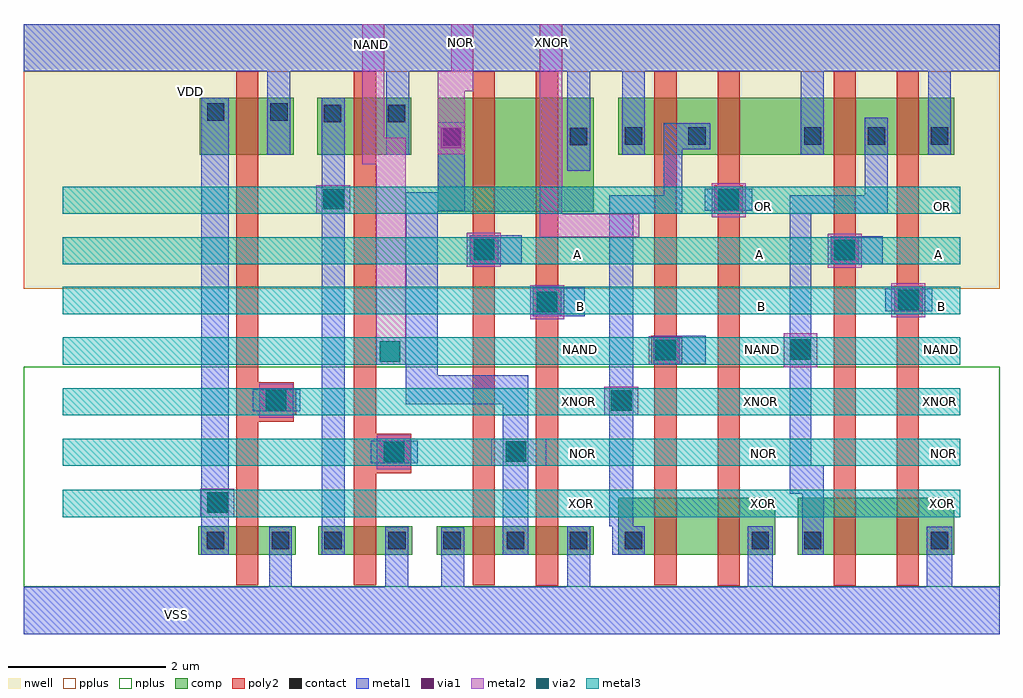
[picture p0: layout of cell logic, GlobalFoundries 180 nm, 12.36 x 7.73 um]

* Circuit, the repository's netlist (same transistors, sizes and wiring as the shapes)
** sch_path: /foss/designs/engn1600-team1/CAD4/logic.sch
.subckt logic NOR VDD VSS XNOR A B NAND XOR
*.PININFO VSS:B VDD:B A:I B:I NAND:O NOR:O XNOR:O XOR:O
x1 VDD NAND A B VSS nand2
x3 VDD NOR net1 VSS inv
x2 VDD NOR A B VSS nor2
x4 VDD XNOR NAND net1 VSS nand2
x6 VDD XNOR XOR VSS inv
.ends

* expanding   symbol:  engn1600-team1/CAD4/alu_nand2.sym # of pins=5
** sym_path: /foss/designs/engn1600-team1/CAD4/alu_nand2.sym
** sch_path: /foss/designs/engn1600-team1/CAD4/alu_nand2.sch
.subckt nand2 VDD OUT IN0 IN1 VSS
*.PININFO VSS:B VDD:B IN0:I IN1:I OUT:O
M1 net1 IN1 VSS VSS nfet_03v3 L=0.28u W=0.72u nf=1 m=1
M2 OUT IN0 net1 VSS nfet_03v3 L=0.28u W=0.72u nf=1 m=1
M3 OUT IN1 VDD VDD pfet_03v3 L=0.28u W=0.72u nf=1 m=1
M4 OUT IN0 VDD VDD pfet_03v3 L=0.28u W=0.72u nf=1 m=1
.ends


* expanding   symbol:  engn1600-team1/CAD4/alu_inv.sym # of pins=4
** sym_path: /foss/designs/engn1600-team1/CAD4/alu_inv.sym
** sch_path: /foss/designs/engn1600-team1/CAD4/alu_inv.sch
.subckt inv VDD IN OUT VSS
*.PININFO IN:I OUT:O VDD:B VSS:B
M1 OUT IN VDD VDD pfet_03v3 L=0.28u W=0.72u nf=1 m=1
M2 OUT IN VSS VSS nfet_03v3 L=0.28u W=0.36u nf=1 m=1
.ends


* expanding   symbol:  engn1600-team1/CAD4/alu_nor2.sym # of pins=5
** sym_path: /foss/designs/engn1600-team1/CAD4/alu_nor2.sym
** sch_path: /foss/designs/engn1600-team1/CAD4/alu_nor2.sch
.subckt nor2 VDD OUT IN0 IN1 VSS
*.PININFO VSS:B VDD:B IN0:I IN1:I OUT:O
M1 OUT IN0 VSS VSS nfet_03v3 L=0.28u W=0.36u nf=1 m=1
M2 OUT IN1 VSS VSS nfet_03v3 L=0.28u W=0.36u nf=1 m=1
M3 net1 IN1 VDD VDD pfet_03v3 L=0.28u W=1.44u nf=1 m=1
M4 OUT IN0 net1 VDD pfet_03v3 L=0.28u W=1.44u nf=1 m=1
.ends

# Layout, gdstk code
import gdstk
lib = gdstk.Library(unit=1e-6, precision=5e-09)
def R(c, l, rs):  # rectangles x0, y0, x1, y1
    for r in rs: c.add(gdstk.rectangle(r[:2], r[2:], *l))
def A(c, l, x, y, w, h, nx, ny, dx, dy):  # array of equal rectangles
    R(c, l, [(x+i*dx, y+j*dy, x+i*dx+w, y+j*dy+h) for i in range(nx) for j in range(ny)])
nwell = (21, 0)
comp = (22, 0)
poly2 = (30, 0)
pplus = (31, 0)
nplus = (32, 0)
contact = (33, 0)
metal1 = (34, 0)
via1 = (35, 0)
metal2 = (36, 0)
via2 = (38, 0)
metal3 = (42, 0)

logic = lib.new_cell('logic')
R(logic, nwell, [(0,4.075,12.36,7.425)])
R(logic, comp, [(2.21,0.705,3.45,1.065), (3.73,0.705,4.92,1.065), (5.235,0.705,7.22,1.065), (7.535,0.705,9.52,1.425), (9.805,0.705,11.79,1.425), (5.245,5.05,7.22,6.49), (2.235,5.77,3.425,6.49), (3.72,5.77,4.91,6.49), (7.535,5.77,9.805,6.49), (9.805,5.77,11.79,6.49)])
R(logic, poly2, [(6.49,0.31,6.77,6.825), (8.79,0.31,9.07,6.825), (10.26,0.31,10.54,6.825), (11.06,0.31,11.34,6.825), (2.695,0.315,2.975,6.825), (4.185,0.315,4.465,6.825), (5.69,0.315,5.97,6.825), (7.99,0.315,8.27,6.825), (4.465,1.735,4.91,2.235), (2.975,2.39,3.42,2.89), (3.01,2.47,3.455,2.815), (7.95,3.115,8.31,3.475), (6.45,3.725,6.81,4.085), (11.025,3.75,11.385,4.11), (11.025,3.75,11.385,4.11), (10.22,4.38,10.58,4.74), (5.65,4.39,6.01,4.75), (8.75,5.02,9.11,5.38)])
R(logic, pplus, [(0,4.075,12.36,6.825)])
R(logic, nplus, [(0,0.3,12.36,3.085)])
R(logic, contact, [(2.32,0.775,2.54,0.995), (3.145,0.775,3.365,0.995), (3.81,0.775,4.03,0.995), (4.62,0.775,4.84,0.995), (5.315,0.775,5.535,0.995), (6.12,0.775,6.34,0.995), (6.92,0.775,7.14,0.995), (7.615,0.775,7.835,0.995), (9.22,0.775,9.44,0.995), (9.885,0.775,10.105,0.995), (11.49,0.775,11.71,0.995), (4.58,1.895,4.8,2.115), (4.58,1.895,4.8,2.115), (3.09,2.55,3.31,2.77), (3.09,2.55,3.31,2.77), (8.02,3.185,8.24,3.405), (6.52,3.795,6.74,4.015), (11.095,3.82,11.315,4.04), (11.095,3.82,11.315,4.04), (10.29,4.45,10.51,4.67), (5.72,4.46,5.94,4.68), (8.82,5.09,9.04,5.31), (5.315,5.89,5.535,6.11), (6.92,5.89,7.14,6.11), (7.615,5.895,7.835,6.115), (8.42,5.895,8.64,6.115), (9.885,5.895,10.105,6.115), (10.69,5.895,10.91,6.115), (11.49,5.895,11.71,6.115), (3.805,6.18,4.025,6.4), (4.615,6.18,4.835,6.4), (2.325,6.2,2.545,6.42), (3.125,6.2,3.345,6.42)])
R(logic, metal1, [(0,-0.3,12.36,0.3), (5.29,-0.3,5.58,1.055), (3.11,-0.295,3.4,1.06), (4.58,-0.295,4.87,1.06), (11.44,-0.295,11.76,1.06), (6.885,-0.29,7.175,1.065), (9.17,-0.29,9.49,1.065), (2.25,0.705,2.6,6.49), (3.78,0.705,4.07,6.49), (6.07,0.705,6.395,2.975), (7.455,0.705,7.865,1.065), (9.86,0.705,10.135,1.835), (7.42,1.065,7.72,5.255), (9.705,1.475,9.975,5.255), (9.725,1.475,10.135,1.835), (4.395,1.865,4.995,2.145), (4.395,1.865,4.995,2.145), (2.905,2.52,3.505,2.8), (2.905,2.52,3.505,2.8), (4.84,2.61,5.245,5.295), (5.245,2.61,6.395,2.975), (7.98,3.115,8.64,3.475), (6.45,3.725,7.11,4.085), (10.91,3.79,11.51,4.07), (10.91,3.79,11.51,4.07), (10.22,4.38,10.88,4.74), (5.65,4.39,6.31,4.75), (7.455,5.025,8.34,5.255), (8.11,5.025,8.34,5.92), (9.725,5.025,10.945,5.255), (10.655,5.03,10.945,6.235), (4.84,5.06,5.585,5.295), (8.63,5.06,9.23,5.34), (5.245,5.295,5.585,5.86), (6.885,5.565,7.175,6.905), (3.085,5.77,3.375,6.915), (4.595,5.77,4.885,6.91), (7.58,5.77,7.87,6.905), (9.845,5.77,10.135,6.905), (11.455,5.77,11.745,6.91), (8.11,5.84,8.7,6.17), (5.245,5.86,5.585,6.18), (0,6.825,12.36,7.425)])
R(logic, via1, [(2.325,1.235,2.585,1.495), (4.56,1.875,4.82,2.135), (4.56,1.875,4.82,2.135), (6.105,1.88,6.365,2.14), (7.44,2.525,7.7,2.785), (3.07,2.53,3.33,2.79), (3.07,2.53,3.33,2.79), (8,3.165,8.26,3.425), (9.71,3.17,9.97,3.43), (6.5,3.775,6.76,4.035), (11.075,3.8,11.335,4.06), (11.075,3.8,11.335,4.06), (10.27,4.43,10.53,4.69), (5.7,4.44,5.96,4.7), (8.8,5.07,9.06,5.33), (3.795,5.08,4.055,5.34), (5.285,5.85,5.545,6.11)])
R(logic, metal2, [(2.24,1.18,2.67,1.54), (4.475,1.785,4.905,2.215), (4.475,1.785,4.905,2.215), (5.925,1.83,6.62,2.175), (2.985,2.44,3.415,2.87), (2.985,2.44,3.415,2.87), (7.355,2.47,7.785,2.83), (9.625,3.08,10.055,3.51), (4.465,3.11,4.84,5.65), (7.915,3.11,8.345,3.47), (6.415,3.685,6.845,4.115), (10.99,3.71,11.42,4.14), (10.99,3.71,11.42,4.14), (10.185,4.34,10.615,4.77), (5.615,4.35,6.045,4.78), (6.54,4.725,6.82,7.425), (6.54,4.725,7.795,5.025), (7.44,4.74,7.7,5), (8.715,4.98,9.145,5.41), (3.71,5.025,4.14,5.385), (4.29,5.65,4.84,5.985), (5.245,5.775,5.585,6.575), (4.29,5.985,4.57,7.425), (5.245,6.575,5.695,6.825), (5.415,6.825,5.695,7.425)])
R(logic, via2, [(2.325,1.235,2.585,1.495), (4.56,1.875,4.82,2.135), (4.56,1.875,4.82,2.135), (6.105,1.88,6.365,2.14), (7.44,2.525,7.7,2.785), (3.07,2.53,3.33,2.79), (3.07,2.53,3.33,2.79), (4.51,3.15,4.77,3.41), (8,3.165,8.26,3.425), (9.71,3.17,9.97,3.43), (6.5,3.775,6.76,4.035), (11.075,3.8,11.335,4.06), (11.075,3.8,11.335,4.06), (10.27,4.43,10.53,4.69), (5.7,4.44,5.96,4.7), (8.8,5.07,9.06,5.33), (3.795,5.08,4.055,5.34)])
A(logic, metal3, 0.5, 1.83, 11.36, 0.345, 1, 4, 0, 0.64)
R(logic, metal3, [(0.5,1.18,11.86,1.525), (0.5,4.38,11.86,4.725), (0.5,5.02,11.86,5.365)])
logic.add(gdstk.Label('OR', (11.635,5.115), layer=42, texttype=10))
logic.add(gdstk.Label('A', (11.59,4.5), layer=42, texttype=10))
logic.add(gdstk.Label('NAND', (11.63,3.3), layer=42, texttype=10))
logic.add(gdstk.Label('XNOR', (11.6,2.64), layer=42, texttype=10))
logic.add(gdstk.Label('NOR', (11.645,1.99), layer=42, texttype=10))
logic.add(gdstk.Label('XOR', (11.635,1.35), layer=42, texttype=10))
logic.add(gdstk.Label('OR', (9.365,5.115), layer=42, texttype=10))
logic.add(gdstk.Label('A', (9.32,4.5), layer=42, texttype=10))
logic.add(gdstk.Label('B', (9.35,3.85), layer=42, texttype=10))
logic.add(gdstk.Label('NAND', (9.36,3.3), layer=42, texttype=10))
logic.add(gdstk.Label('XNOR', (9.33,2.64), layer=42, texttype=10))
logic.add(gdstk.Label('NOR', (9.375,1.99), layer=42, texttype=10))
logic.add(gdstk.Label('XOR', (9.365,1.35), layer=42, texttype=10))
logic.add(gdstk.Label('A', (7.02,4.5), layer=42, texttype=10))
logic.add(gdstk.Label('B', (7.05,3.85), layer=42, texttype=10))
logic.add(gdstk.Label('NAND', (7.06,3.3), layer=42, texttype=10))
logic.add(gdstk.Label('XNOR', (7.03,2.64), layer=42, texttype=10))
logic.add(gdstk.Label('NOR', (7.075,1.99), layer=42, texttype=10))
logic.add(gdstk.Label('XOR', (7.065,1.35), layer=42, texttype=10))
logic.add(gdstk.Label('B', (11.62,3.85), layer=42, texttype=10))
logic.add(gdstk.Label('VSS', (1.935,-0.05), layer=34, texttype=10))
logic.add(gdstk.Label('VDD', (2.115,6.575), layer=34, texttype=10))
logic.add(gdstk.Label('NAND', (4.405,7.17), layer=36, texttype=10))
logic.add(gdstk.Label('XNOR', (6.69,7.185), layer=36, texttype=10))
logic.add(gdstk.Label('NOR', (5.535,7.185), layer=36, texttype=10))

lib.write_gds('logic.gds')
